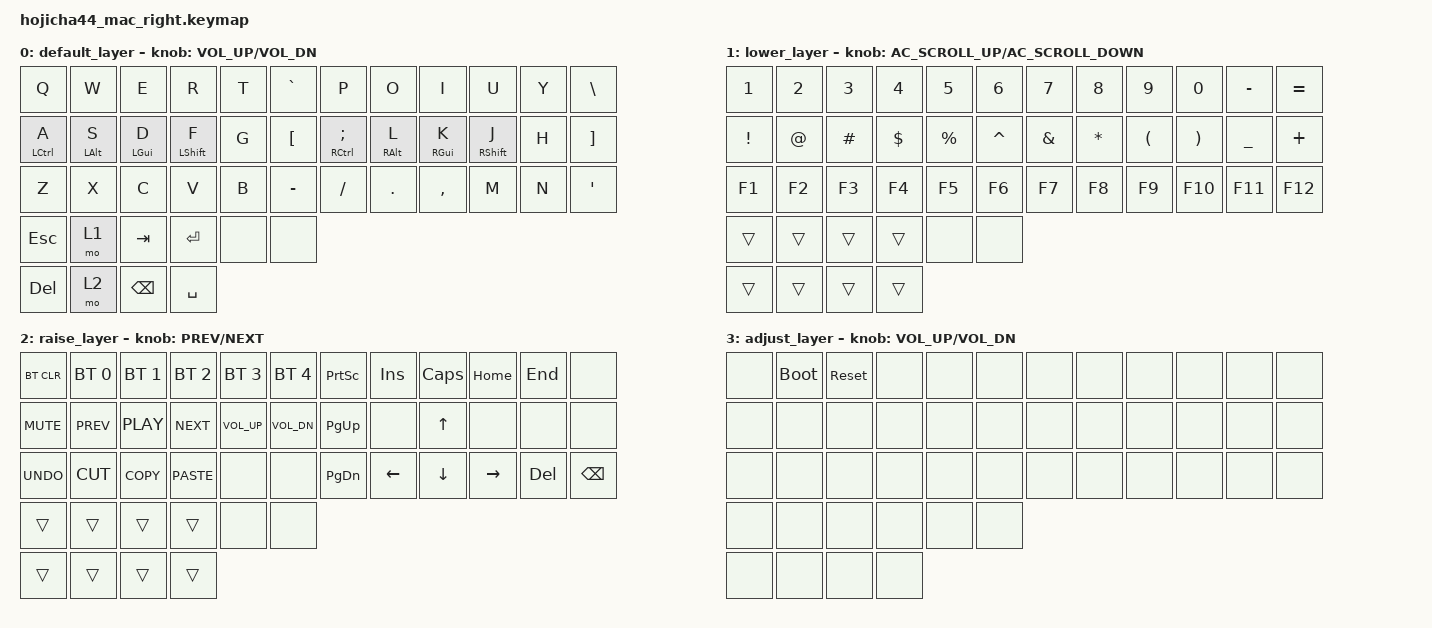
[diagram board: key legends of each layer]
/* Hojicha44 keymap — mac_right variant.
 * GENERATED by config/gen_keymap.py from spec/layout.yaml — DO NOT EDIT.
 *   mod order : Ctrl Alt GUI Shift (macOS: Cmd on the middle)
 *   space     : right thumb (the other carries Enter)
 * Regenerate: python3 config/gen_keymap.py            (all variants)
 * Switch   : python3 config/gen_keymap.py --use mac_right
 * Design   : spec/keymap.md (the narrative for every table below).
 */
#include <behaviors.dtsi>
#include <dt-bindings/zmk/keys.h>
#include <dt-bindings/zmk/bt.h>

/ {
    /* Home-row mods, ZMK's documented "timeless" recipe: balanced flavor,
     * require-prior-idle (fast rolls resolve to taps), a long tapping term
     * (the POSITIONAL triggers decide, not the timer) and positional
     * hold-trigger-key-positions listing the OTHER hand's keys, with
     * hold-trigger-on-release so same-hand modifier combos still work.
     * One behavior per hand so the trigger lists can differ. */
    behaviors {
        hml: home_row_mod_left {
            compatible = "zmk,behavior-hold-tap";
            #binding-cells = <2>;
            flavor = "balanced";
            require-prior-idle-ms = <150>;
            tapping-term-ms = <280>;
            quick-tap-ms = <175>;
            bindings = <&kp>, <&kp>;
            hold-trigger-key-positions = <6 7 8 9 10 11 18 19 20 21 22 23 30 31 32 33 34 35 42 43 44 45>;
            hold-trigger-on-release;
        };
        hmr: home_row_mod_right {
            compatible = "zmk,behavior-hold-tap";
            #binding-cells = <2>;
            flavor = "balanced";
            require-prior-idle-ms = <150>;
            tapping-term-ms = <280>;
            quick-tap-ms = <175>;
            bindings = <&kp>, <&kp>;
            hold-trigger-key-positions = <0 1 2 3 4 5 12 13 14 15 16 17 24 25 26 27 28 29 36 37 38 39>;
            hold-trigger-on-release;
        };
    };

    /* L1 + L2 held together -> Adjust (ZMK conditional layers; this is
     * the "Fn chord" the v1 layout spec called for). */
    conditional_layers {
        compatible = "zmk,conditional-layers";
        adjust_cond {
            if-layers = <1 2>;
            then-layer = <3>;
        };
    };

    keymap {
        compatible = "zmk,keymap";
        label = "Hojicha44";

        default_layer {
            bindings = <
                &kp Q &kp W &kp E &kp R &kp T &kp GRAVE &kp P &kp O &kp I &kp U &kp Y &kp BSLH
                &hml LCTRL A &hml LALT S &hml LGUI D &hml LSHIFT F &kp G &kp LBKT &hmr RCTRL SCLN &hmr RALT L &hmr RGUI K &hmr RSHIFT J &kp H &kp RBKT
                &kp Z &kp X &kp C &kp V &kp B &kp MINUS &kp SLASH &kp DOT &kp COMMA &kp M &kp N &kp SQT
                &kp ESC &mo 1 &kp TAB &kp RET &none &none
                &kp DEL &mo 2 &kp BSPC &kp SPACE
            >;
            sensor-bindings = <&inc_dec_kp C_VOL_UP C_VOL_DN>;
        };
        lower_layer {
            bindings = <
                &kp N1 &kp N2 &kp N3 &kp N4 &kp N5 &kp N6 &kp N7 &kp N8 &kp N9 &kp N0 &kp MINUS &kp EQUAL
                &kp EXCL &kp AT &kp HASH &kp DLLR &kp PRCNT &kp CARET &kp AMPS &kp ASTRK &kp LPAR &kp RPAR &kp UNDERSCORE &kp PLUS
                &kp F1 &kp F2 &kp F3 &kp F4 &kp F5 &kp F6 &kp F7 &kp F8 &kp F9 &kp F10 &kp F11 &kp F12
                &trans &trans &trans &trans &none &none
                &trans &trans &trans &trans
            >;
            sensor-bindings = <&inc_dec_kp C_AC_SCROLL_UP C_AC_SCROLL_DOWN>;
        };
        raise_layer {
            bindings = <
                &bt BT_CLR &bt BT_SEL 0 &bt BT_SEL 1 &bt BT_SEL 2 &bt BT_SEL 3 &bt BT_SEL 4 &kp PSCRN &kp INS &kp CLCK &kp HOME &kp END &none
                &kp C_MUTE &kp C_PREV &kp C_PLAY &kp C_NEXT &kp C_VOL_UP &kp C_VOL_DN &kp PG_UP &none &kp UP &none &none &none
                &kp K_UNDO &kp K_CUT &kp K_COPY &kp K_PASTE &none &none &kp PG_DN &kp LEFT &kp DOWN &kp RIGHT &kp DEL &kp BSPC
                &trans &trans &trans &trans &none &none
                &trans &trans &trans &trans
            >;
            sensor-bindings = <&inc_dec_kp C_PREV C_NEXT>;
        };
        adjust_layer {
            bindings = <
                &none &bootloader &sys_reset &none &none &none &none &none &none &none &none &none
                &none &none &none &none &none &none &none &none &none &none &none &none
                &none &none &none &none &none &none &none &none &none &none &none &none
                &none &none &none &none &none &none
                &none &none &none &none
            >;
            sensor-bindings = <&inc_dec_kp C_VOL_UP C_VOL_DN>;
        };
    };

    /* Encoder push -> Mute on BOTH halves (the dtsi defines the direct-GPIO
     * kscan on the shared D16; the sideband keeps the 46-cell matrix
     * untouched). First article: press on EACH half must send Mute. */
    enc_push_sideband: sideband_enc_push {
        compatible = "zmk,kscan-sideband-behaviors";
        kscan = <&enc_push_kscan>;
        auto-enable;
        push_mute: push_0 {
            row = <0>;
            column = <0>;
            bindings = <&kp C_MUTE>;
        };
    };
};
